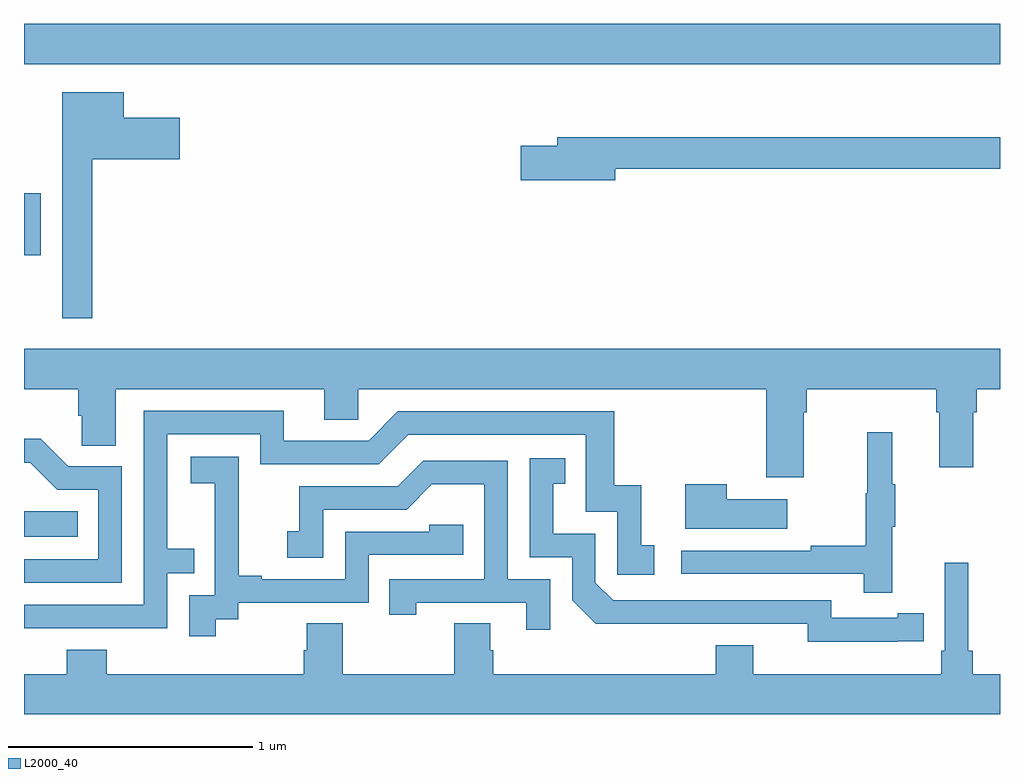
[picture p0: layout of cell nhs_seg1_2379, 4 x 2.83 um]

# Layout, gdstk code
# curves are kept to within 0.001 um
import gdstk
lib = gdstk.Library(unit=1e-6, precision=1e-09)
def R(c, l, rs):  # rectangles x0, y0, x1, y1
    for r in rs: c.add(gdstk.rectangle(r[:2], r[2:], *l))
def P(c, l, *ps):  # polygons
    for p in ps: c.add(gdstk.Polygon(p, *l))
L2000_40 = (2000, 40)

nhs_seg1_2379 = lib.new_cell('nhs_seg1_2379')
R(nhs_seg1_2379, L2000_40, [(241,517.826,241.22,517.93), (241,518.981,241.069,519.235), (241,519.764,245,519.928)])
P(nhs_seg1_2379, L2000_40, [(241.279,519.374),(241.639,519.374),(241.639,519.544),(241.408,519.544),(241.408,519.649),(241.157,519.649),(241.157,518.721),(241.279,518.721)],
  [(243.424,519.334),(245,519.334),(245,519.463),(243.185,519.463),(243.185,519.429),(243.036,519.429),(243.036,519.287),(243.424,519.287)],
  [(241,518.432),(241.223,518.432),(241.223,518.323),(241.236,518.323),(241.236,518.2),(241.375,518.2),(241.375,518.432),(242.231,518.432),(242.231,518.305),(242.37,518.305),(242.37,518.432),(244.043,518.432),(244.043,518.07),(244.195,518.07),(244.195,518.336),(244.208,518.336),(244.208,518.432),(244.739,518.432),(244.739,518.336),(244.751,518.336),(244.751,518.112),(244.891,518.112),(244.891,518.336),(244.904,518.336),(244.904,518.432),(245,518.432),(245,518.596),(241,518.596)],
  [(241.091,517.452),(241.587,517.452),(241.587,517.677),(241.697,517.677),(241.697,517.778),(241.587,517.778),(241.587,518.247),(241.968,518.247),(241.968,518.124),(242.454,518.124),(242.574,518.244),(243.303,518.244),(243.303,517.929),(243.432,517.929),(243.432,517.671),(243.583,517.671),(243.583,517.791),(243.53,517.791),(243.53,518.038),(243.419,518.038),(243.419,518.34),(242.532,518.34),(242.412,518.22),(242.065,518.22),(242.065,518.343),(241.491,518.343),(241.491,517.548),(241,517.548),(241,517.451)],
  [(244.559,517.867),(244.57,517.867),(244.57,518.041),(244.559,518.041),(244.559,518.254),(244.456,518.254),(244.456,518.004),(244.449,518.004),(244.449,517.79),(244.225,517.79),(244.225,517.77),(243.693,517.77),(243.693,517.674),(244.441,517.674),(244.441,517.596),(244.559,517.596)],
  [(241.401,518.115),(241.182,518.115),(241.069,518.228),(241,518.228),(241,518.13),(241.025,518.13),(241.136,518.019),(241.305,518.019),(241.305,517.734),(241,517.734),(241,517.638),(241.401,517.638)],
  [(241.786,517.489),(241.878,517.489),(241.878,517.557),(242.412,517.557),(242.412,517.752),(242.801,517.752),(242.801,517.875),(242.661,517.875),(242.661,517.848),(242.316,517.848),(242.316,517.653),(241.975,517.653),(241.975,517.666),(241.88,517.666),(241.88,517.949),(241.881,517.949),(241.881,518.155),(241.683,518.155),(241.683,518.045),(241.781,518.045),(241.781,517.817),(241.782,517.817),(241.782,517.587),(241.677,517.587),(241.677,517.419),(241.786,517.419)],
  [(244.58,517.398),(244.688,517.398),(244.688,517.514),(244.58,517.514),(244.58,517.494),(244.308,517.494),(244.308,517.566),(243.414,517.566),(243.342,517.638),(243.342,517.839),(243.169,517.839),(243.169,518.043),(243.218,518.043),(243.218,518.149),(243.072,518.149),(243.072,517.743),(243.246,517.743),(243.246,517.566),(243.344,517.469),(244.212,517.47),(244.212,517.397)],
  [(243.156,517.653),(242.982,517.653),(242.982,518.139),(242.636,518.139),(242.531,518.034),(242.128,518.034),(242.128,517.849),(242.079,517.849),(242.079,517.74),(242.226,517.74),(242.226,517.938),(242.568,517.938),(242.672,518.042),(242.886,518.042),(242.886,517.653),(242.497,517.653),(242.497,517.506),(242.608,517.506),(242.608,517.557),(243.059,517.557),(243.059,517.446),(243.156,517.446)],
  [(244.129,517.981),(243.881,517.981),(243.881,518.041),(243.71,518.041),(243.71,517.859),(244.129,517.859)],
  [(245,517.264),(244.889,517.264),(244.889,517.36),(244.87,517.36),(244.87,517.72),(244.773,517.72),(244.773,517.36),(244.76,517.36),(244.76,517.264),(243.988,517.264),(243.988,517.381),(243.836,517.381),(243.836,517.264),(242.924,517.264),(242.924,517.362),(242.911,517.362),(242.911,517.472),(242.764,517.472),(242.764,517.264),(242.307,517.264),(242.307,517.472),(242.159,517.472),(242.159,517.362),(242.147,517.362),(242.147,517.264),(241.34,517.264),(241.34,517.363),(241.175,517.363),(241.175,517.264),(241,517.264),(241,517.1),(245,517.1)])

lib.write_gds('nhs_seg1_2379.gds')
